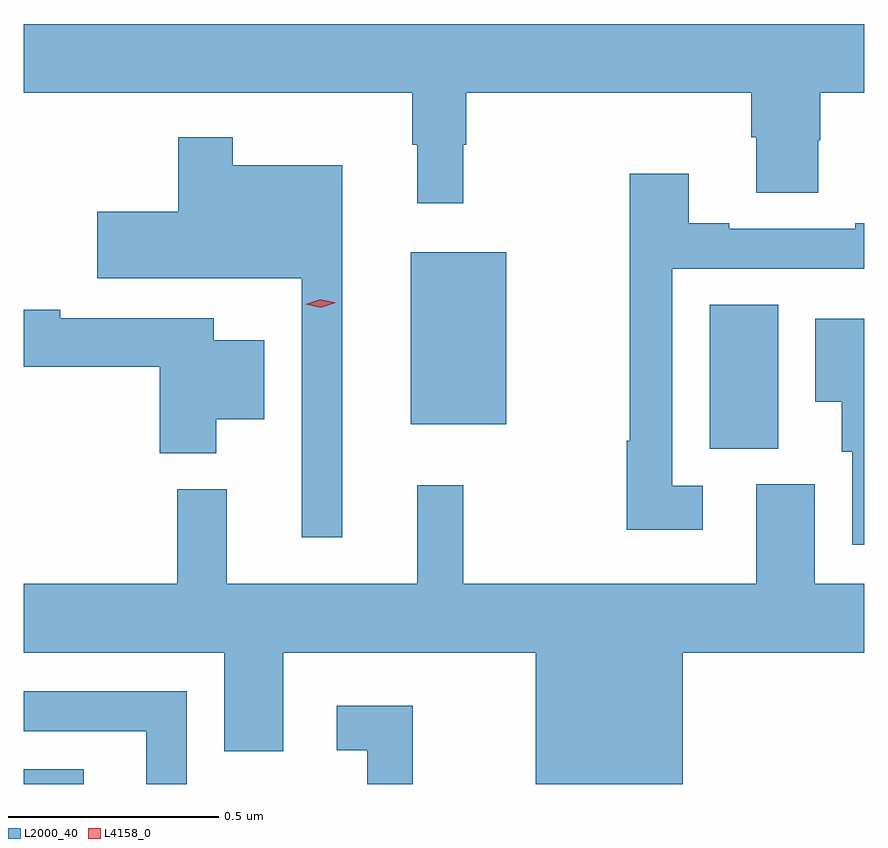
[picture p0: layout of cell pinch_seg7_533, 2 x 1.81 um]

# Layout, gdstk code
import gdstk
lib = gdstk.Library(unit=1e-6, precision=1e-09)
def R(c, l, rs):  # rectangles x0, y0, x1, y1
    for r in rs: c.add(gdstk.rectangle(r[:2], r[2:], *l))
def P(c, l, *ps):  # polygons
    for p in ps: c.add(gdstk.Polygon(p, *l))
L2000_40 = (2000, 40)
L4158_0 = (4158, 0)

pinch_seg7_533 = lib.new_cell('pinch_seg7_533')
R(pinch_seg7_533, L2000_40, [(138.824,1077.559,138.967,1077.594), (140.456,1078.357,140.62,1078.7), (139.745,1078.415,139.972,1078.825)])
P(pinch_seg7_533, L2000_40, [(139.87,1079.081),(139.877,1079.081),(139.877,1079.204),(140.555,1079.204),(140.555,1079.098),(140.567,1079.098),(140.567,1078.966),(140.715,1078.966),(140.715,1079.091),(140.72,1079.091),(140.72,1079.204),(140.824,1079.204),(140.824,1079.368),(138.824,1079.368),(138.824,1079.204),(139.749,1079.204),(139.749,1079.081),(139.76,1079.081),(139.76,1078.941),(139.87,1078.941)],
  [(139.582,1079.032),(139.321,1079.032),(139.321,1079.098),(139.192,1079.098),(139.192,1078.921),(138.999,1078.921),(138.999,1078.763),(139.485,1078.763),(139.485,1078.146),(139.582,1078.146)],
  [(140.44,1078.269),(140.367,1078.269),(140.367,1078.785),(140.824,1078.785),(140.824,1078.894),(140.803,1078.894),(140.803,1078.881),(140.503,1078.881),(140.503,1078.894),(140.407,1078.894),(140.407,1079.011),(140.266,1079.011),(140.266,1078.376),(140.259,1078.376),(140.259,1078.164),(140.44,1078.164)],
  [(139.282,1078.427),(139.396,1078.427),(139.396,1078.615),(139.276,1078.615),(139.276,1078.668),(138.911,1078.668),(138.911,1078.688),(138.824,1078.688),(138.824,1078.552),(139.148,1078.552),(139.148,1078.346),(139.282,1078.346)],
  [(140.824,1078.666),(140.708,1078.666),(140.708,1078.469),(140.771,1078.469),(140.771,1078.35),(140.796,1078.35),(140.796,1078.128),(140.824,1078.128)],
  [(140.392,1077.872),(140.824,1077.872),(140.824,1078.036),(140.707,1078.036),(140.707,1078.272),(140.567,1078.272),(140.567,1078.036),(139.87,1078.036),(139.87,1078.27),(139.76,1078.27),(139.76,1078.036),(139.307,1078.036),(139.307,1078.261),(139.189,1078.261),(139.189,1078.036),(138.824,1078.036),(138.824,1077.872),(139.301,1077.872),(139.301,1077.637),(139.441,1077.637),(139.441,1077.872),(140.042,1077.872),(140.042,1077.559),(140.392,1077.559)],
  [(139.212,1077.78),(138.824,1077.78),(138.824,1077.684),(139.115,1077.684),(139.115,1077.559),(139.212,1077.559)],
  [(139.75,1077.745),(139.569,1077.745),(139.569,1077.639),(139.641,1077.639),(139.641,1077.559),(139.75,1077.559)])
P(pinch_seg7_533, L4158_0, [(139.531,1078.693),(139.495,1078.701),(139.495,1078.701),(139.495,1078.701),(139.53,1078.713),(139.566,1078.705),(139.566,1078.704),(139.566,1078.704)])

lib.write_gds('pinch_seg7_533.gds')
